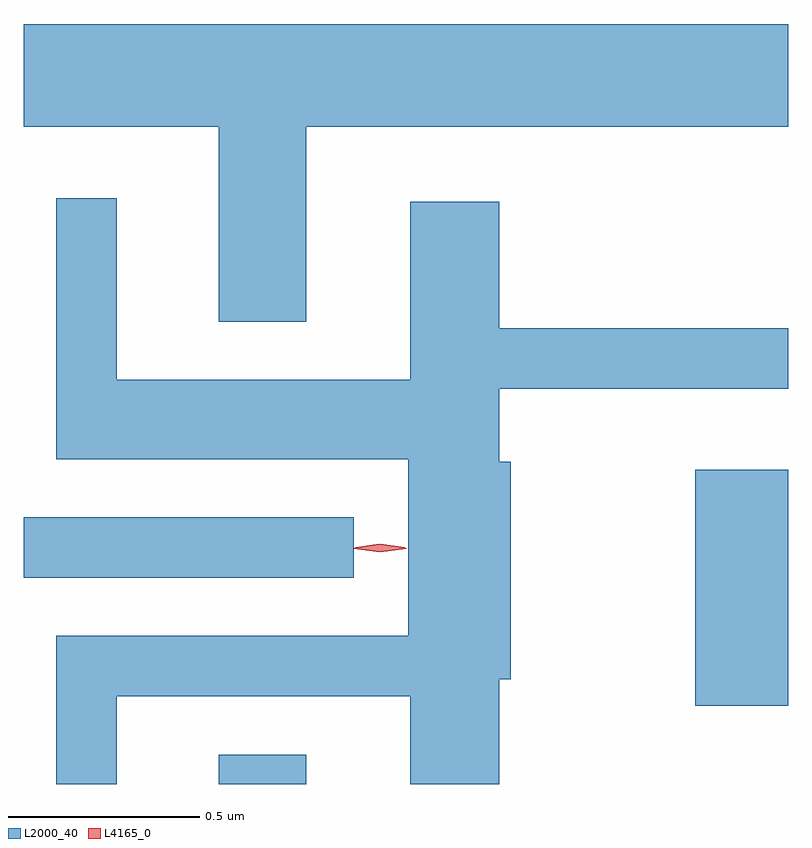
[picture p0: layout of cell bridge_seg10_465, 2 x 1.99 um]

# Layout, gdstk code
import gdstk
lib = gdstk.Library(unit=1e-6, precision=1e-09)
def R(c, l, rs):  # rectangles x0, y0, x1, y1
    for r in rs: c.add(gdstk.rectangle(r[:2], r[2:], *l))
def P(c, l, *ps):  # polygons
    for p in ps: c.add(gdstk.Polygon(p, *l))
L2000_40 = (2000, 40)
L4165_0 = (4165, 0)

bridge_seg10_465 = lib.new_cell('bridge_seg10_465')
R(bridge_seg10_465, L2000_40, [(1378.781,2112.197,1379.009,2112.274), (1380.026,2112.401,1380.27,2113.019), (1378.27,2112.736,1379.133,2112.894)])
P(bridge_seg10_465, L2000_40, [(1379.009,2113.916),(1380.27,2113.916),(1380.27,2114.184),(1378.27,2114.184),(1378.27,2113.916),(1378.781,2113.916),(1378.781,2113.406),(1379.009,2113.406)],
  [(1378.514,2112.426),(1379.281,2112.426),(1379.281,2112.197),(1379.514,2112.197),(1379.514,2112.471),(1379.544,2112.471),(1379.544,2113.039),(1379.514,2113.039),(1379.514,2113.231),(1380.27,2113.231),(1380.27,2113.389),(1379.514,2113.389),(1379.514,2113.719),(1379.281,2113.719),(1379.281,2113.254),(1378.514,2113.254),(1378.514,2113.728),(1378.356,2113.728),(1378.356,2113.046),(1379.276,2113.046),(1379.276,2112.584),(1378.356,2112.584),(1378.356,2112.197),(1378.514,2112.197)])
P(bridge_seg10_465, L4165_0, [(1379.202,2112.805),(1379.138,2112.814),(1379.137,2112.815),(1379.138,2112.816),(1379.202,2112.825),(1379.267,2112.816),(1379.267,2112.815),(1379.267,2112.814)],
  [(1379.203,2112.803),(1379.134,2112.812),(1379.134,2112.813),(1379.134,2112.814),(1379.203,2112.823),(1379.271,2112.814),(1379.272,2112.813),(1379.271,2112.812)])

lib.write_gds('bridge_seg10_465.gds')
